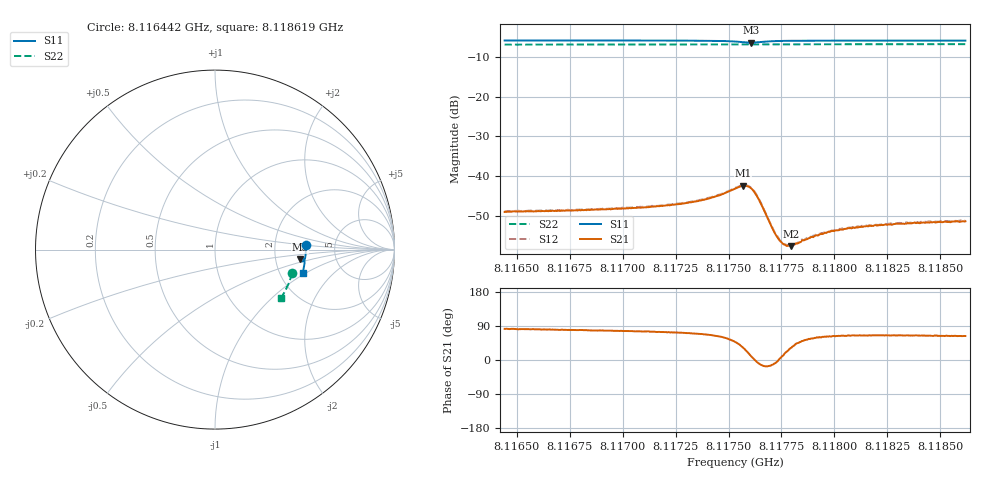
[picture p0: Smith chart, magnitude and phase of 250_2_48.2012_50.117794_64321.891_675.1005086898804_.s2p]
#  HZ  S  RI  R  50.00
! Rohde & Schwarz Vector Network Analyzer
! Rohde-Schwarz,ZNB20-2Port,1311601062101988,3.16
! Created: UTC 3/20/2024, 11:47:13 AM
! freq[Hz]  re:S11  im:S11  re:S21  im:S21  re:S12  im:S12  re:S22  im:S22
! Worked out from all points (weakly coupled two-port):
!   401 points, 8.116442 GHz to 8.118619 GHz, reference 50 ohm
!   highest |S21| = -42.37 dB at 8.117569 GHz (marker M1); lowest = -57.5 dB at 8.117797 GHz (marker M2)
!   lowest |S11| = -6.4 dB at 8.117607 GHz (marker M3), VSWR 2.82, Z = 138 - j19.5 ohm
!   |S11| at or under -10 dB: nowhere
!   |S22| runs from -6.9 to -6.8 dB; largest |S21 - S12| = 0.0002
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8.1164421e9  0.5062 0.0254  0.000483 0.00354  0.000543 0.00361  0.4298 -0.1318
8.1168067e9  0.5063 -0.00255  0.000712 0.00371  0.000796 0.00375  0.4226 -0.1562
8.1171713e9  0.5044 -0.0314  0.00114 0.00405  0.00121 0.00409  0.4139 -0.1802
8.1172856e9  0.5029 -0.0413  0.00143 0.00432  0.00153 0.00438  0.4109 -0.1876
8.1173782e9  0.5006 -0.0501  0.00188 0.00468  0.00197 0.00475  0.4086 -0.1935
8.1174544e9  0.4969 -0.0581  0.00269 0.00511  0.00277 0.00519  0.4061 -0.1984
8.1175306e9  0.4873 -0.0657  0.00471 0.00518  0.00478 0.00525  0.4037 -0.2034
8.1175686e9  0.4785 -0.0645  0.0064 0.00412  0.00655 0.00408  0.4022 -0.2054
8.1175904e9  0.4743 -0.0598  0.00701 0.0026  0.00719 0.00256  0.4014 -0.2065
8.1176067e9  0.4736 -0.0546  0.00697 0.00122  0.00709 0.00117  0.4012 -0.2073
8.1176231e9  0.4756 -0.0498  0.00628 1.97e-05  0.00643 -2.08e-05  0.4007 -0.2079
8.1176394e9  0.4796 -0.0468  0.00528 -0.000718  0.00537 -0.000798  0.4004 -0.209
8.1177156e9  0.4945 -0.0519  0.00197 -0.000336  0.00199 -0.000366  0.3988 -0.2138
8.1177374e9  0.4961 -0.055  0.00162 2.67e-05  0.00165 -2.56e-05  0.3984 -0.2154
8.1177537e9  0.4969 -0.057  0.00143 0.000252  0.00146 0.000229  0.3978 -0.2163
8.11777e9  0.4977 -0.059  0.00128 0.000468  0.00132 0.000436  0.3974 -0.2175
8.1177972e9  0.4983 -0.0623  0.00112 0.000717  0.00115 0.000769  0.3965 -0.2193
8.1178952e9  0.4987 -0.0725  0.000944 0.00145  0.000936 0.00146  0.3936 -0.2255
8.1179823e9  0.498 -0.0804  0.000958 0.0018  0.000956 0.00181  0.3905 -0.231
8.1180585e9  0.4973 -0.0869  0.000975 0.00198  0.000988 0.00198  0.388 -0.2355
8.1182598e9  0.4942 -0.1028  0.00105 0.00225  0.00109 0.00229  0.3811 -0.248
8.1186191e9  0.4879 -0.1295  0.00122 0.00243  0.00129 0.00247  0.3675 -0.2693
